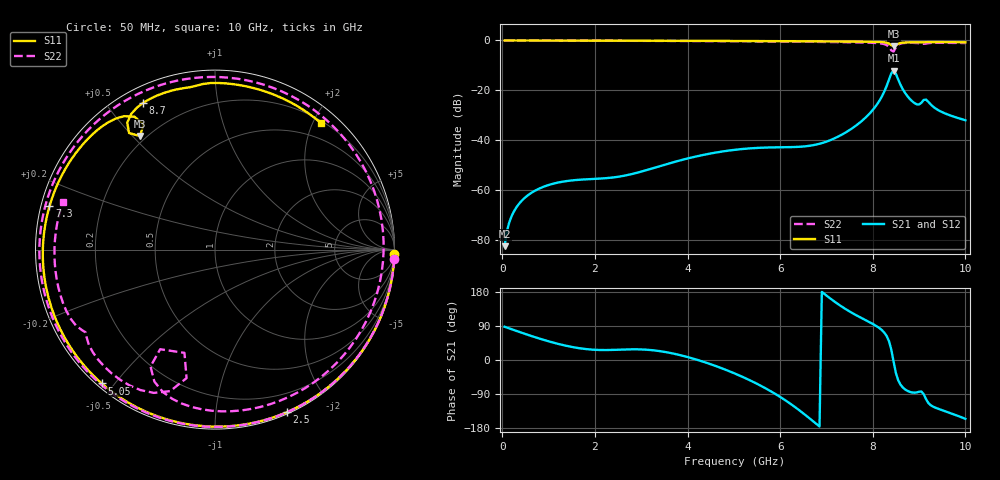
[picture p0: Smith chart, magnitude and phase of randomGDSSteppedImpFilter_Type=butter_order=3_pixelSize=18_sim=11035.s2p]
! freq	dB(S11)	phase(S11)	dB(S12)	phase(S12)
!  dB(S21)	phase(S21)	dB(S22)	phase(S22)
!S-par simulation data
#  GHz  S  DB  R 50
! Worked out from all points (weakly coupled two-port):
!   200 points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, 50 MHz to 10 GHz, reference 50 ohm
!   highest |S21| = -12.08 dB at 8.45 GHz (marker M1); lowest = -82.4 dB at 50 MHz (marker M2)
!   lowest |S11| = -2.4 dB at 8.45 GHz (marker M3), VSWR 7.27, Z = 8.82 + j26.3 ohm
!   |S11| at or under -10 dB: nowhere
!   |S22| runs from -4.4 to 0.0 dB; largest |S21 - S12| = 0
!   S11 on the Smith chart (normalised r, x): 50 MHz: 0, -84; 2.5 GHz: 0.02, -1.54; 5.05 GHz: 0.01, -0.46; 7.3 GHz: 0.02, +0.13; 8.7 GHz: 0.07, +0.62; 10 GHz: 0.23, +2.11
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0.05  -0.00 -1.4  -82.37 87.7  -82.37 87.7  -0.00 -3.0
0.25  -0.01 -6.8  -68.50 79.1  -68.50 79.1  -0.02 -15.1
0.55  -0.02 -14.9  -62.03 66.5  -62.03 66.5  -0.04 -32.9
1.15  -0.04 -30.9  -57.12 44.3  -57.12 44.3  -0.08 -67.0
1.75  -0.06 -46.7  -55.67 29.6  -55.67 29.6  -0.11 -98.4
2.5  -0.08 -66.1  -54.59 27.1  -54.59 27.1  -0.14 -134.3
3.4  -0.12 -88.8  -50.34 23.4  -50.34 23.4  -0.18 -174.7
4.2  -0.15 -108.8  -46.39 0.8  -46.39 0.8  -0.23 148.7
5.05  -0.20 -130.2  -43.72 -37.2  -43.72 -37.2  -0.31 105.3
5.85  -0.26 -151.2  -42.81 -86.2  -42.81 -86.2  -0.41 57.4
6.3  -0.30 -163.8  -42.67 -122.3  -42.67 -122.3  -0.47 27.3
6.7  -0.35 -175.5  -41.98 -160.4  -41.98 -160.4  -0.54 -0.7
7.3  -0.42 165.3  -38.04 143.3  -38.04 143.3  -0.67 -43.0
7.9  -0.51 143.4  -29.88 101.7  -29.88 101.7  -0.87 -84.2
8.35  -1.25 121.2  -15.67 49.7  -15.67 49.7  -2.57 -118.9
8.45  -2.40 123.4  -12.08 -4.6  -12.08 -4.6  -4.44 -106.5
8.55  -1.31 124.6  -15.68 -53.7  -15.68 -53.7  -1.65 -107.6
8.7  -0.82 116.0  -21.08 -77.8  -21.08 -77.8  -0.97 -122.2
8.95  -0.75 103.4  -25.58 -85.5  -25.58 -85.5  -1.02 -139.8
9.15  -0.68 94.2  -23.69 -103.2  -23.69 -103.2  -1.25 -148.8
9.4  -0.66 81.1  -27.76 -128.1  -27.76 -128.1  -0.93 -163.7
10  -0.73 50.2  -31.96 -155.2  -31.96 -155.2  -1.03 162.6
